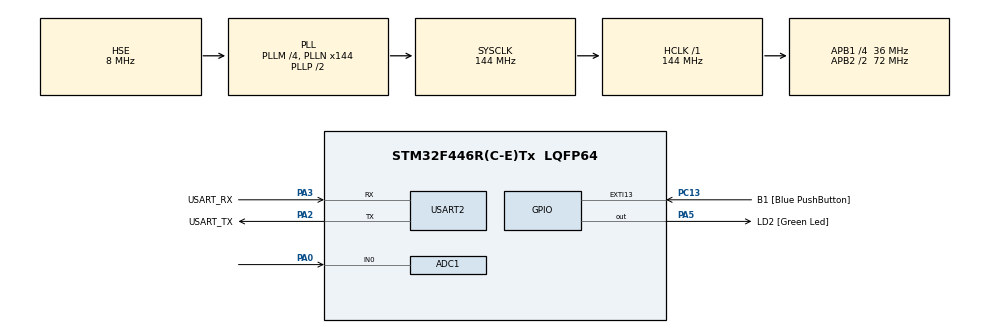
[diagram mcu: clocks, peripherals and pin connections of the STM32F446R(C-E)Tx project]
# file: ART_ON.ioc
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ADC1.Channel-0\#ChannelRegularConversion=ADC_CHANNEL_0
ADC1.NbrOfConversion=1
ADC1.NbrOfConversionFlag=1
ADC1.Rank-0\#ChannelRegularConversion=1
ADC1.SamplingTime-0\#ChannelRegularConversion=ADC_SAMPLETIME_3CYCLES
ADC1.master=1
Mcu.Family=STM32F4
Mcu.Name=STM32F446R(C-E)Tx
Mcu.Package=LQFP64
NVIC.PriorityGroup=NVIC_PRIORITYGROUP_0
PA0-WKUP.Signal=ADCx_IN0
PA13.GPIO_Label=TMS
PA13.Mode=Serial_Wire
PA13.Signal=SYS_JTMS-SWDIO
PA14.GPIO_Label=TCK
PA14.Mode=Serial_Wire
PA14.Signal=SYS_JTCK-SWCLK
PA2.GPIO_Label=USART_TX
PA2.Mode=Asynchronous
PA2.Signal=USART2_TX
PA3.GPIO_Label=USART_RX
PA3.Mode=Asynchronous
PA3.Signal=USART2_RX
PA5.GPIO_Label=LD2 [Green Led]
PA5.Signal=GPIO_Output
PB3.GPIO_Label=SWO
PB3.Signal=SYS_JTDO-SWO
PC13.GPIO_Label=B1 [Blue PushButton]
PC13.GPIO_ModeDefaultEXTI=GPIO_MODE_IT_FALLING
PC13.Signal=GPXTI13
PC14-OSC32_IN.Mode=LSE-External-Oscillator
PC14-OSC32_IN.Signal=RCC_OSC32_IN
PC15-OSC32_OUT.Mode=LSE-External-Oscillator
PC15-OSC32_OUT.Signal=RCC_OSC32_OUT
PH0-OSC_IN.Mode=HSE-External-Oscillator
PH0-OSC_IN.Signal=RCC_OSC_IN
PH1-OSC_OUT.Mode=HSE-External-Oscillator
PH1-OSC_OUT.Signal=RCC_OSC_OUT
ProjectManager.HeapSize=0x400
ProjectManager.StackSize=0x400
ProjectManager.TargetToolchain=TrueSTUDIO
RCC.48MHZClocksFreq_Value=84000000
RCC.AHBFreq_Value=144000000
RCC.APB1CLKDivider=RCC_HCLK_DIV4
RCC.APB1Freq_Value=36000000
RCC.APB1TimFreq_Value=72000000
RCC.APB2CLKDivider=RCC_HCLK_DIV2
RCC.APB2Freq_Value=72000000
RCC.APB2TimFreq_Value=144000000
RCC.CortexFreq_Value=144000000
RCC.DATA_CACHE_ENABLE=1
RCC.FLatency-AdvancedSettings=FLASH_LATENCY_4
RCC.HCLKFreq_Value=144000000
RCC.HSE_VALUE=8000000
RCC.HSI_VALUE=16000000
RCC.INSTRUCTION_CACHE_ENABLE=1
RCC.PLLM=4
RCC.PLLN=144
RCC.PLLSourceVirtual=RCC_PLLSOURCE_HSE
RCC.PREFETCH_ENABLE=1
RCC.SYSCLKFreq_VALUE=144000000
RCC.SYSCLKSource=RCC_SYSCLKSOURCE_PLLCLK
RCC.USBFreq_Value=144000000
RCC.VCOOutputFreq_Value=288000000
SH.ADCx_IN0.0=ADC1_IN0,IN0
USART2.VirtualMode=VM_ASYNC
board=NUCLEO-F446RE

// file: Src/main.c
/* USER CODE BEGIN Header */
/**
  ******************************************************************************
  * @file           : main.c
  * @brief          : Main program body
  ******************************************************************************
  * @attention
  *
  * <h2><center>&copy; Copyright (c) 2019 STMicroelectronics.
  * All rights reserved.</center></h2>
  *
  * This software component is licensed by ST under BSD 3-Clause license,
  * the "License"; You may not use this file except in compliance with the
  * License. You may obtain a copy of the License at:
  *                        opensource.org/licenses/BSD-3-Clause
  *
  ******************************************************************************
  */
/* USER CODE END Header */

#include "main.h"

/* USER CODE BEGIN Includes */
#include "febby_flash.h"
/* USER CODE END Includes */

ADC_HandleTypeDef hadc1;

UART_HandleTypeDef huart2;

void SystemClock_Config(void);
static void MX_GPIO_Init(void);
static void MX_ADC1_Init(void);
static void MX_USART2_UART_Init(void);
/* USER CODE BEGIN PFP */
void SET_ADCOption1 (FunctionalState NewState);
void SET_ADCOption2 (uint32_t ADCxDC2, FunctionalState NewState);
/* USER CODE END PFP */

/* USER CODE BEGIN 0 */
uint8_t flashWrite[5] = {0x11, 0x22, 0x33, 0x44, 0x55}; //dummy data
uint8_t flashRead[5];
uint32_t adc_val, buffer;
void HAL_ADC_ConvCpltCallback(ADC_HandleTypeDef* hadc)
{

/* for INTERRUPT uncomment the line below */
//	buffer = HAL_ADC_GetValue(&hadc1);

/*If continuousconversion mode is DISABLED uncomment below*/
HAL_ADC_Start_IT (&hadc1);

/* for DMA uncomment the line below */
//	adc_val = buffer;
}

int __io_putchar(int ch)
 {
  uint8_t c[1];
  c[0] = ch & 0x00FF;
  HAL_UART_Transmit(&huart2, &*c, 1, 10);
  return ch;
 }

 int _write(int file,char *ptr, int len)
 {
  int DataIdx;
  for(DataIdx= 0; DataIdx< len; DataIdx++)
  {
  __io_putchar(*ptr++);
  }
 return len;
 }
/* USER CODE END 0 */

int main(void)
{

  /* MCU Configuration--------------------------------------------------------*/

  /* Reset of all peripherals, Initializes the Flash interface and the Systick. */
  HAL_Init();

  /* Configure the system clock */
  SystemClock_Config();

  /* Initialize all configured peripherals */
  MX_GPIO_Init();
  MX_ADC1_Init();
  MX_USART2_UART_Init();
  /* USER CODE BEGIN 2 */
  MY_FLASH_SetSectorAddrs(7, 0x08060000);
  MY_FLASH_WriteN(0, flashWrite, 5, DATA_TYPE_8);
  //SET_ADCOption1 (ENABLE);
  //SET_ADCOption2 (SYSCFG_PMC_ADCxDC2, ENABLE);
  /* USER CODE END 2 */

  /* Infinite loop */
  while (1)
  {

    /* USER CODE BEGIN 3 */
		HAL_ADC_Start (&hadc1);
		HAL_ADC_PollForConversion(&hadc1, 1000000);  // poll for conversion
		adc_val = HAL_ADC_GetValue(&hadc1);  // get the adc value
		printf("%d \n\r", adc_val);
		HAL_ADC_Stop(&hadc1);  // stop adc
		//MY_FLASH_ReadN(0, flashRead, 5, DATA_TYPE_8);
		//	HAL_Delay (50);  // wait for 500ms
  }
  /* USER CODE END 3 */
}

void SystemClock_Config(void)
{
  RCC_OscInitTypeDef RCC_OscInitStruct = {0};
  RCC_ClkInitTypeDef RCC_ClkInitStruct = {0};

  /** Configure the main internal regulator output voltage
  */
  __HAL_RCC_PWR_CLK_ENABLE();
  __HAL_PWR_VOLTAGESCALING_CONFIG(PWR_REGULATOR_VOLTAGE_SCALE1);
  /** Initializes the CPU, AHB and APB busses clocks
  */
  RCC_OscInitStruct.OscillatorType = RCC_OSCILLATORTYPE_HSE;
  RCC_OscInitStruct.HSEState = RCC_HSE_ON;
  RCC_OscInitStruct.PLL.PLLState = RCC_PLL_ON;
  RCC_OscInitStruct.PLL.PLLSource = RCC_PLLSOURCE_HSE;
  RCC_OscInitStruct.PLL.PLLM = 4;
  RCC_OscInitStruct.PLL.PLLN = 144;
  RCC_OscInitStruct.PLL.PLLP = RCC_PLLP_DIV2;
  RCC_OscInitStruct.PLL.PLLQ = 2;
  RCC_OscInitStruct.PLL.PLLR = 2;
  if (HAL_RCC_OscConfig(&RCC_OscInitStruct) != HAL_OK)
  {
    Error_Handler();
  }
  /** Initializes the CPU, AHB and APB busses clocks
  */
  RCC_ClkInitStruct.ClockType = RCC_CLOCKTYPE_HCLK|RCC_CLOCKTYPE_SYSCLK
                              |RCC_CLOCKTYPE_PCLK1|RCC_CLOCKTYPE_PCLK2;
  RCC_ClkInitStruct.SYSCLKSource = RCC_SYSCLKSOURCE_PLLCLK;
  RCC_ClkInitStruct.AHBCLKDivider = RCC_SYSCLK_DIV1;
  RCC_ClkInitStruct.APB1CLKDivider = RCC_HCLK_DIV4;
  RCC_ClkInitStruct.APB2CLKDivider = RCC_HCLK_DIV2;

  if (HAL_RCC_ClockConfig(&RCC_ClkInitStruct, FLASH_LATENCY_4) != HAL_OK)
  {
    Error_Handler();
  }
}

static void MX_ADC1_Init(void)
{

  ADC_ChannelConfTypeDef sConfig = {0};

  /** Configure the global features of the ADC (Clock, Resolution, Data Alignment and number of conversion)
  */
  hadc1.Instance = ADC1;
  hadc1.Init.ClockPrescaler = ADC_CLOCK_SYNC_PCLK_DIV2;
  hadc1.Init.Resolution = ADC_RESOLUTION_12B;
  hadc1.Init.ScanConvMode = DISABLE;
  hadc1.Init.ContinuousConvMode = DISABLE;
  hadc1.Init.DiscontinuousConvMode = DISABLE;
  hadc1.Init.ExternalTrigConvEdge = ADC_EXTERNALTRIGCONVEDGE_NONE;
  hadc1.Init.ExternalTrigConv = ADC_SOFTWARE_START;
  hadc1.Init.DataAlign = ADC_DATAALIGN_RIGHT;
  hadc1.Init.NbrOfConversion = 1;
  hadc1.Init.DMAContinuousRequests = DISABLE;
  hadc1.Init.EOCSelection = ADC_EOC_SINGLE_CONV;
  if (HAL_ADC_Init(&hadc1) != HAL_OK)
  {
    Error_Handler();
  }
  /** Configure for the selected ADC regular channel its corresponding rank in the sequencer and its sample time.
  */
  sConfig.Channel = ADC_CHANNEL_0;
  sConfig.Rank = 1;
  sConfig.SamplingTime = ADC_SAMPLETIME_3CYCLES;
  if (HAL_ADC_ConfigChannel(&hadc1, &sConfig) != HAL_OK)
  {
    Error_Handler();
  }

}

static void MX_USART2_UART_Init(void)
{

  huart2.Instance = USART2;
  huart2.Init.BaudRate = 115200;
  huart2.Init.WordLength = UART_WORDLENGTH_8B;
  huart2.Init.StopBits = UART_STOPBITS_1;
  huart2.Init.Parity = UART_PARITY_NONE;
  huart2.Init.Mode = UART_MODE_TX_RX;
  huart2.Init.HwFlowCtl = UART_HWCONTROL_NONE;
  huart2.Init.OverSampling = UART_OVERSAMPLING_16;
  if (HAL_UART_Init(&huart2) != HAL_OK)
  {
    Error_Handler();
  }

}

static void MX_GPIO_Init(void)
{
  GPIO_InitTypeDef GPIO_InitStruct = {0};

  /* GPIO Ports Clock Enable */
  __HAL_RCC_GPIOC_CLK_ENABLE();
  __HAL_RCC_GPIOH_CLK_ENABLE();
  __HAL_RCC_GPIOA_CLK_ENABLE();
  __HAL_RCC_GPIOB_CLK_ENABLE();

  /*Configure GPIO pin Output Level */
  HAL_GPIO_WritePin(LD2_GPIO_Port, LD2_Pin, GPIO_PIN_RESET);

  /*Configure GPIO pin : B1_Pin */
  GPIO_InitStruct.Pin = B1_Pin;
  GPIO_InitStruct.Mode = GPIO_MODE_IT_FALLING;
  GPIO_InitStruct.Pull = GPIO_NOPULL;
  HAL_GPIO_Init(B1_GPIO_Port, &GPIO_InitStruct);

  /*Configure GPIO pin : LD2_Pin */
  GPIO_InitStruct.Pin = LD2_Pin;
  GPIO_InitStruct.Mode = GPIO_MODE_OUTPUT_PP;
  GPIO_InitStruct.Pull = GPIO_NOPULL;
  GPIO_InitStruct.Speed = GPIO_SPEED_FREQ_LOW;
  HAL_GPIO_Init(LD2_GPIO_Port, &GPIO_InitStruct);

}

/* USER CODE BEGIN 4 */
/**
* @brief Enables or disables the ADC Option_1 configuration.
 * @param NewState: new state of the ADCDC1 bit.
 * This parameter can be: ENABLE or DISABLE.
 * @retval None
 */
void SET_ADCOption1 (FunctionalState NewState)
{

 /* ENABLE PWR clock */
	__HAL_RCC_PWR_CLK_ENABLE();

 if (NewState != DISABLE)
 {
 /* Set ADCDC1 bit */
 PWR->CR |= ((uint32_t)PWR_CR_ADCDC1);
 }
 else
 {
 /* Reset ADCDC1 bit */
 PWR->CR &= (uint32_t)(~PWR_CR_ADCDC1);
 }
}

/**
 * @brief Enables or disables the ADCx Option_2 configuration.
 * @param ADCxDC2: The ADCxDC2 bit to be used.
 * This parameter can be one of the following values:
 * @arg SYSCFG_PMC_ADCxDC2: All ADCxDC2 bits
 * @arg SYSCFG_PMC_ADC1DC2: ADC1DC2 bit
 * @arg SYSCFG_PMC_ADC2DC2: ADC2DC2 bit
 * @arg SYSCFG_PMC_ADC3DC2: ADC3DC2 bit
 * @param NewState: new state of the ADCxDC2 bit.
 * This parameter can be: ENABLE or DISABLE.
 * @retval None
 */
void SET_ADCOption2 (uint32_t ADCxDC2, FunctionalState NewState)
{

 /* Enable the SYSCFG clock*/
	__HAL_RCC_SYSCFG_CLK_ENABLE();

 if (NewState != DISABLE)
 {
 /* Set the ADCxDC2 */
 SYSCFG->PMC |= (uint32_t)ADCxDC2;
 }
 else
 {
 /* Reset the ADCxDC2 */
 SYSCFG->PMC &=(uint32_t)(~ADCxDC2);
}
}
/* USER CODE END 4 */

void Error_Handler(void)
{
}

/************************ (C) COPYRIGHT STMicroelectronics *****END OF FILE****/
